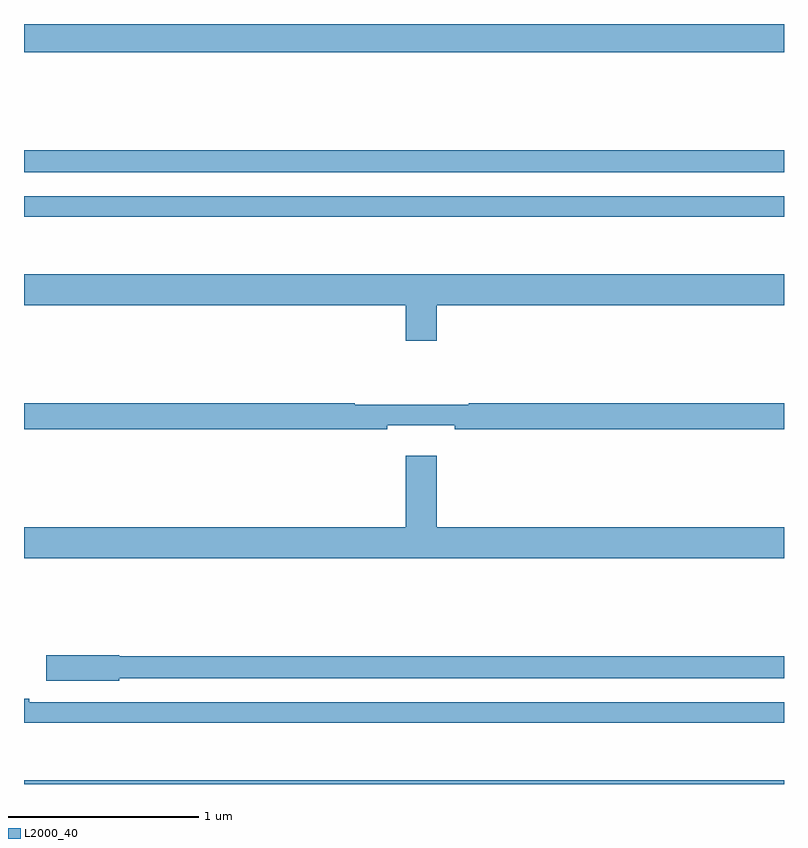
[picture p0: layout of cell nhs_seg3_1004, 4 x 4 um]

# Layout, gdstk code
import gdstk
lib = gdstk.Library(unit=1e-6, precision=1e-09)
def R(c, l, rs):  # rectangles x0, y0, x1, y1
    for r in rs: c.add(gdstk.rectangle(r[:2], r[2:], *l))
def P(c, l, *ps):  # polygons
    for p in ps: c.add(gdstk.Polygon(p, *l))
L2000_40 = (2000, 40)

nhs_seg3_1004 = lib.new_cell('nhs_seg3_1004')
R(nhs_seg3_1004, L2000_40, [(163,694.4,167,694.42), (163,697.386,167,697.494), (163,697.62,167,697.736), (163,698.252,167,698.4)])
P(nhs_seg3_1004, L2000_40, [(165.172,696.92),(167,696.92),(167,697.084),(163,697.084),(163,696.92),(165.008,696.92),(165.008,696.732),(165.172,696.732)],
  [(164.912,696.287),(165.268,696.287),(165.268,696.268),(167,696.268),(167,696.404),(165.34,696.404),(165.34,696.397),(164.74,696.397),(164.74,696.404),(163,696.404),(163,696.268),(164.912,696.268)],
  [(167,695.752),(165.172,695.752),(165.172,696.127),(165.008,696.127),(165.008,695.752),(163,695.752),(163,695.588),(167,695.588)],
  [(163.5,694.956),(167,694.956),(167,695.072),(163.5,695.072),(163.5,695.078),(163.116,695.078),(163.116,694.943),(163.5,694.943)],
  [(167,694.83),(163.028,694.83),(163.028,694.85),(163,694.85),(163,694.722),(167,694.722)])

lib.write_gds('nhs_seg3_1004.gds')
